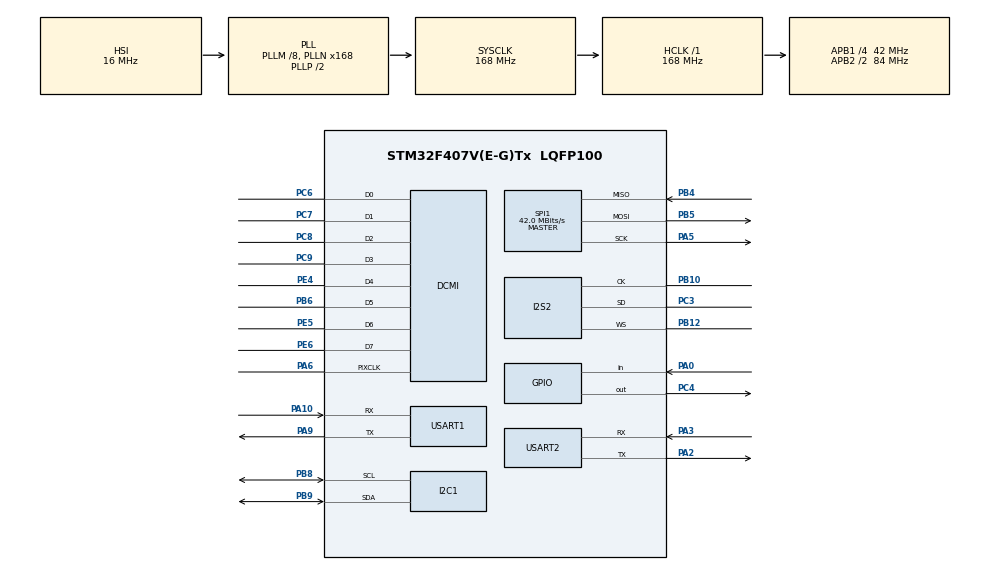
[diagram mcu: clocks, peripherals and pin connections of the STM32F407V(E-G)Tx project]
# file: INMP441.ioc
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DCMI.JPEGMode=DCMI_JPEG_DISABLE
Dma.Request0=SPI2_RX
Dma.Request1=USART1_RX
Dma.Request2=USART1_TX
Dma.SPI2_RX.0.Direction=DMA_PERIPH_TO_MEMORY
Dma.SPI2_RX.0.FIFOMode=DMA_FIFOMODE_DISABLE
Dma.SPI2_RX.0.Instance=DMA1_Stream3
Dma.SPI2_RX.0.MemDataAlignment=DMA_MDATAALIGN_HALFWORD
Dma.SPI2_RX.0.MemInc=DMA_MINC_ENABLE
Dma.SPI2_RX.0.Mode=DMA_NORMAL
Dma.SPI2_RX.0.PeriphDataAlignment=DMA_PDATAALIGN_HALFWORD
Dma.SPI2_RX.0.PeriphInc=DMA_PINC_DISABLE
Dma.SPI2_RX.0.Priority=DMA_PRIORITY_LOW
Dma.USART1_RX.1.Direction=DMA_PERIPH_TO_MEMORY
Dma.USART1_RX.1.FIFOMode=DMA_FIFOMODE_DISABLE
Dma.USART1_RX.1.Instance=DMA2_Stream2
Dma.USART1_RX.1.MemDataAlignment=DMA_MDATAALIGN_BYTE
Dma.USART1_RX.1.MemInc=DMA_MINC_ENABLE
Dma.USART1_RX.1.Mode=DMA_NORMAL
Dma.USART1_RX.1.PeriphDataAlignment=DMA_PDATAALIGN_BYTE
Dma.USART1_RX.1.PeriphInc=DMA_PINC_DISABLE
Dma.USART1_RX.1.Priority=DMA_PRIORITY_LOW
Dma.USART1_TX.2.Direction=DMA_MEMORY_TO_PERIPH
Dma.USART1_TX.2.FIFOMode=DMA_FIFOMODE_DISABLE
Dma.USART1_TX.2.Instance=DMA2_Stream7
Dma.USART1_TX.2.MemDataAlignment=DMA_MDATAALIGN_BYTE
Dma.USART1_TX.2.MemInc=DMA_MINC_ENABLE
Dma.USART1_TX.2.Mode=DMA_NORMAL
Dma.USART1_TX.2.PeriphDataAlignment=DMA_PDATAALIGN_BYTE
Dma.USART1_TX.2.PeriphInc=DMA_PINC_DISABLE
Dma.USART1_TX.2.Priority=DMA_PRIORITY_LOW
I2S2.DataFormat=I2S_DATAFORMAT_16B_EXTENDED
I2S2.ErrorAudioFreq=-0.36 %
I2S2.FullDuplexMode=I2S_FULLDUPLEXMODE_DISABLE
I2S2.Instance=SPI$Index
I2S2.Mode=I2S_MODE_MASTER_RX
I2S2.RealAudioFreq=7.971 KHz
I2S2.Standard=I2S_STANDARD_PHILIPS
I2S2.VirtualMode=I2S_MODE_MASTER
Mcu.Family=STM32F4
Mcu.Name=STM32F407V(E-G)Tx
Mcu.Package=LQFP100
NVIC.DMA1_Stream3_IRQn=true\:0\:0\:false\:false\:true\:false\:true\:true
NVIC.DMA2_Stream2_IRQn=true\:0\:0\:false\:false\:true\:false\:true\:true
NVIC.DMA2_Stream7_IRQn=true\:0\:0\:false\:false\:true\:false\:true\:true
NVIC.PriorityGroup=NVIC_PRIORITYGROUP_4
PA0-WKUP.Signal=GPIO_Input
PA10.Mode=Asynchronous
PA10.Signal=USART1_RX
PA13.Mode=Serial_Wire
PA13.Signal=SYS_JTMS-SWDIO
PA14.Mode=Serial_Wire
PA14.Signal=SYS_JTCK-SWCLK
PA2.Mode=Asynchronous
PA2.Signal=USART2_TX
PA3.Mode=Asynchronous
PA3.Signal=USART2_RX
PA5.Mode=Full_Duplex_Master
PA5.Signal=SPI1_SCK
PA6.Mode=Slave_8_bits_Embedded_Synchro
PA6.Signal=DCMI_PIXCLK
PA9.Mode=Asynchronous
PA9.Signal=USART1_TX
PB10.Mode=Half_Duplex_Master
PB10.Signal=I2S2_CK
PB12.Mode=Half_Duplex_Master
PB12.Signal=I2S2_WS
PB4.Mode=Full_Duplex_Master
PB4.Signal=SPI1_MISO
PB5.Mode=Full_Duplex_Master
PB5.Signal=SPI1_MOSI
PB6.Mode=Slave_8_bits_Embedded_Synchro
PB6.Signal=DCMI_D5
PB8.Mode=I2C
PB8.Signal=I2C1_SCL
PB9.Mode=I2C
PB9.Signal=I2C1_SDA
PC3.Mode=Half_Duplex_Master
PC3.Signal=I2S2_SD
PC4.Signal=GPIO_Output
PC6.Mode=Slave_8_bits_Embedded_Synchro
PC6.Signal=DCMI_D0
PC7.Mode=Slave_8_bits_Embedded_Synchro
PC7.Signal=DCMI_D1
PC8.Mode=Slave_8_bits_Embedded_Synchro
PC8.Signal=DCMI_D2
PC9.Mode=Slave_8_bits_Embedded_Synchro
PC9.Signal=DCMI_D3
PE4.Mode=Slave_8_bits_Embedded_Synchro
PE4.Signal=DCMI_D4
PE5.Mode=Slave_8_bits_Embedded_Synchro
PE5.Signal=DCMI_D6
PE6.Mode=Slave_8_bits_Embedded_Synchro
PE6.Signal=DCMI_D7
PH0-OSC_IN.Mode=HSE-External-Oscillator
PH0-OSC_IN.Signal=RCC_OSC_IN
PH1-OSC_OUT.Mode=HSE-External-Oscillator
PH1-OSC_OUT.Signal=RCC_OSC_OUT
ProjectManager.HeapSize=0x200
ProjectManager.StackSize=0x400
ProjectManager.TargetToolchain=MDK-ARM V5.32
RCC.48MHZClocksFreq_Value=84000000
RCC.AHBFreq_Value=168000000
RCC.APB1CLKDivider=RCC_HCLK_DIV4
RCC.APB1Freq_Value=42000000
RCC.APB1TimFreq_Value=84000000
RCC.APB2CLKDivider=RCC_HCLK_DIV2
RCC.APB2Freq_Value=84000000
RCC.APB2TimFreq_Value=168000000
RCC.CortexFreq_Value=168000000
RCC.HCLKFreq_Value=168000000
RCC.HSE_VALUE=25000000
RCC.HSI_VALUE=16000000
RCC.LSE_VALUE=32768
RCC.PLLI2SN=50
RCC.PLLM=8
RCC.PLLN=168
RCC.SYSCLKFreq_VALUE=168000000
RCC.SYSCLKSource=RCC_SYSCLKSOURCE_PLLCLK
RCC.VCOOutputFreq_Value=336000000
SPI1.CalculateBaudRate=42.0 MBits/s
SPI1.Direction=SPI_DIRECTION_2LINES
SPI1.Mode=SPI_MODE_MASTER
SPI1.VirtualType=VM_MASTER
USART1.VirtualMode=VM_ASYNC
USART2.VirtualMode=VM_ASYNC
board=custom

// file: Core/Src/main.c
/* USER CODE BEGIN Header */
/**
  ******************************************************************************
  * @file           : main.c
  * @brief          : Main program body
  ******************************************************************************
  * @attention
  *
  * Copyright (c) 2025 STMicroelectronics.
  * All rights reserved.
  *
  * This software is licensed under terms that can be found in the LICENSE file
  * in the root directory of this software component.
  * If no LICENSE file comes with this software, it is provided AS-IS.
  *
  ******************************************************************************
  */
/* USER CODE END Header */
#include "main.h"
#include "dcmi.h"
#include "dma.h"
#include "i2c.h"
#include "i2s.h"
#include "spi.h"
#include "usart.h"
#include "gpio.h"

/* USER CODE BEGIN Includes */
#include "stdint.h"
#include "stdio.h"
#include <speex/speex_preprocess.h>
#include <speex/speex.h>
#define SAMPLE_RATE 8000
#define FRAME_SIZE 80
#define RAW_FRAME_SIZE FRAME_SIZE*2
SpeexBits bits;
int fputc(int ch, FILE *f) {
    HAL_UART_Transmit(&huart1, (uint8_t *)&ch, 1, 0x1000);  // 使用USART1，超时时间足够长
    return ch;
}

spx_int16_t pcm_buf[2][FRAME_SIZE];
uint8_t curr_buf_idx = 0;
volatile uint8_t data_ready = 0;      // 一帧数据就绪标志
SpeexPreprocessState *preprocess_state;

// 4. INMP441 24位→16位PCM转换（提取有效声道）
void INMP441_ConvertTo16bitPCM(spx_int16_t *pcm_out, uint16_t *i2s_in, uint32_t len) {
    for (uint32_t i = 0; i < len; i++) {
        // 步骤1：提取有效声道（假设INMP441接左声道，取偶数索引0,2,4...）
        uint16_t raw_16bit = i2s_in[2 * i];  // 跳过右声道（奇数索引）

        // 步骤2：INMP441输出为无符号16位，转换为有符号16位PCM
        // （24位数据截取高16位后，偏移量调整为16位范围）
        pcm_out[i] = (spx_int16_t)(raw_16bit);  // 无符号→有符号
    }
}
void Speex_Init(void) {
		HAL_UART_Transmit(&huart1,"into init",11,0x1000);
    preprocess_state= speex_preprocess_state_init(80, SAMPLE_RATE);
    if (preprocess_state == NULL) {
        HAL_UART_Transmit(&huart1,"not success",12,0x1000);
    }
		else {
			HAL_UART_Transmit(&huart1,"success",7,0x1000);
		}
    // 配置16位PCM优化参数
    int denoise = 1;                // 开启降噪

    speex_preprocess_ctl(preprocess_state, SPEEX_PREPROCESS_SET_DENOISE, &denoise);
}
/* USER CODE END Includes */

/* USER CODE BEGIN PTD */
int16_t dma[80];
spx_int16_t pcm_d[80];
uint32_t val24;
int val32;
int PCM16;
unsigned cb_cnt=0;
void HAL_I2S_RxCpltCallback(I2S_HandleTypeDef *hi2s)
{
	if(hi2s==&hi2s2){
		data_ready=1;
		curr_buf_idx = 1-curr_buf_idx;
		cb_cnt++;//回调次数计数
		if(cb_cnt%5==0)
			printf("pcm=%d speex=%d\r\n",dma[0],pcm_buf[curr_buf_idx][0]);
		INMP441_ConvertTo16bitPCM(pcm_buf[curr_buf_idx],dma,80);
	}
}
//void HAL_I2S_RxCpltCallback(I2S_HandleTypeDef *hi2s)
//{
//	if(hi2s==&hi2s2){
//		cb_cnt++;//回调次数计数
//		//将两个32整型合并为一个
//		//dat32 example: 0000fffb 00004f00
//		val24=(dma[0]<<8)+(dma[1]>>8);
//		//将24位有符号整型扩展到32位
//		if(val24 & 0x800000){//negative
//			val32=0xff000000 | val24;
//		}else{//positive
//			val32=val24;
//		}
//		//以采样频率的十分之一，串口发送采样值
//		if(cb_cnt%10==0)
//			printf("%d\r\n",val32);
//	}
//}

/* USER CODE END PTD */

void SystemClock_Config(void);

int main(void)
{

  /* MCU Configuration--------------------------------------------------------*/

  /* Reset of all peripherals, Initializes the Flash interface and the Systick. */
  HAL_Init();

  /* Configure the system clock */
  SystemClock_Config();

  /* Initialize all configured peripherals */
  MX_GPIO_Init();
  MX_DMA_Init();
  MX_I2S2_Init();
  MX_USART1_UART_Init();
  MX_DCMI_Init();
  MX_I2C1_Init();
  MX_SPI1_Init();
  MX_USART2_UART_Init();
  /* USER CODE BEGIN 2 */
	Speex_Init();
	HAL_I2S_Receive_DMA(&hi2s2,(uint16_t*)dma,80);

  /* USER CODE END 2 */

  /* Infinite loop */
  /* USER CODE BEGIN WHILE */
  while (1)
  {
		{
       if (data_ready) {
        // 1. 取“已完成接收”的缓冲区（不是当前正在接收的）
        uint8_t process_idx = 1 - curr_buf_idx;
					printf("pcm=\r\n");
				   for (int i = 0; i < 80; i++){
						printf("%d ",pcm_buf[curr_buf_idx][i]);
						 if(i%5==0){
							printf("\r\n");
						 }
					}
        // 2. 处理该缓冲区（此时 DMA 正在写另一个缓冲区，不会覆盖当前数据）
				int16_t frame1[80];
				memcpy(frame1,pcm_buf[curr_buf_idx],40*sizeof(int16_t *));
        speex_preprocess_run(preprocess_state,frame1);
        // 执行编码...
				printf("speex=\r\n");
				for (int i = 0; i < 80; i++){
					printf("%d",frame1	[i]);
					if(i%5==0){
						printf("\r\n");
					 }
					}
        // 3. 清除就绪标志，等待下一帧
				data_ready = 0;
				//HAL_I2S_Receive_DMA(&hi2s2,(uint16_t*)dma,160);
			}
    }

    /* USER CODE END WHILE */

  }
}

void SystemClock_Config(void)
{
  RCC_OscInitTypeDef RCC_OscInitStruct = {0};
  RCC_ClkInitTypeDef RCC_ClkInitStruct = {0};

  /** Configure the main internal regulator output voltage
  */
  __HAL_RCC_PWR_CLK_ENABLE();
  __HAL_PWR_VOLTAGESCALING_CONFIG(PWR_REGULATOR_VOLTAGE_SCALE1);

  /** Initializes the RCC Oscillators according to the specified parameters
  * in the RCC_OscInitTypeDef structure.
  */
  RCC_OscInitStruct.OscillatorType = RCC_OSCILLATORTYPE_HSI;
  RCC_OscInitStruct.HSIState = RCC_HSI_ON;
  RCC_OscInitStruct.HSICalibrationValue = RCC_HSICALIBRATION_DEFAULT;
  RCC_OscInitStruct.PLL.PLLState = RCC_PLL_ON;
  RCC_OscInitStruct.PLL.PLLSource = RCC_PLLSOURCE_HSI;
  RCC_OscInitStruct.PLL.PLLM = 8;
  RCC_OscInitStruct.PLL.PLLN = 168;
  RCC_OscInitStruct.PLL.PLLP = RCC_PLLP_DIV2;
  RCC_OscInitStruct.PLL.PLLQ = 4;
  if (HAL_RCC_OscConfig(&RCC_OscInitStruct) != HAL_OK)
  {
    Error_Handler();
  }

  /** Initializes the CPU, AHB and APB buses clocks
  */
  RCC_ClkInitStruct.ClockType = RCC_CLOCKTYPE_HCLK|RCC_CLOCKTYPE_SYSCLK
                              |RCC_CLOCKTYPE_PCLK1|RCC_CLOCKTYPE_PCLK2;
  RCC_ClkInitStruct.SYSCLKSource = RCC_SYSCLKSOURCE_PLLCLK;
  RCC_ClkInitStruct.AHBCLKDivider = RCC_SYSCLK_DIV1;
  RCC_ClkInitStruct.APB1CLKDivider = RCC_HCLK_DIV4;
  RCC_ClkInitStruct.APB2CLKDivider = RCC_HCLK_DIV2;

  if (HAL_RCC_ClockConfig(&RCC_ClkInitStruct, FLASH_LATENCY_5) != HAL_OK)
  {
    Error_Handler();
  }
}

void Error_Handler(void)
{
  __disable_irq();
  while (1)
  {
  }
}
